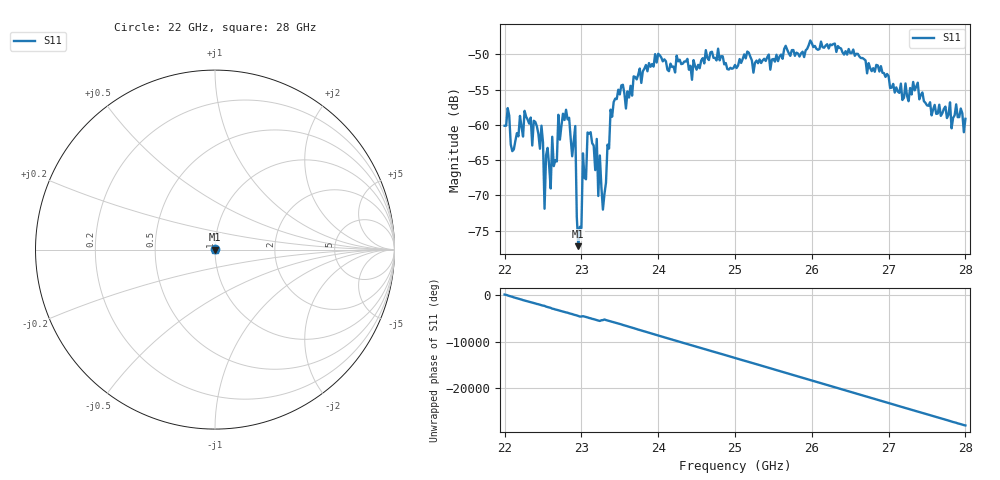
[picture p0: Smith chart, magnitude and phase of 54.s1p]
#  HZ  S  RI  R  50.00
! Rohde & Schwarz ZVA40 4Ports - Version 3.90 - 1145.1110k42 SN: 100403
! Date: 2023-10-04 07:40:08
! Measurement: S12
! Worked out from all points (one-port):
!   301 points, 22 GHz to 28 GHz, reference 50 ohm
!   lowest |S11| = -77.2 dB at 22.96 GHz (marker M1), VSWR 1.00, Z = 50 + j0.000373 ohm
!   |S11| at or under -10 dB: start of sweep to end of sweep
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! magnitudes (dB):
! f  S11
! 22 GHz  -60.1
! 22.48 GHz  -60.1
! 22.52 GHz  -71.9
! 22.54 GHz  -64.3
! 22.6 GHz  -69.0
! 22.62 GHz  -61.7
! 22.68 GHz  -65.2
! 22.7 GHz  -58.6
! 22.76 GHz  -58.4
! 22.88 GHz  -64.5
! 22.92 GHz  -60.2
! 22.96 GHz  -77.2
! 23 GHz  -74.6
! 23.02 GHz  -64.0
! 23.06 GHz  -67.7
! 23.08 GHz  -61.1
! 23.2 GHz  -62.0
! 23.22 GHz  -70.1
! 23.24 GHz  -64.3
! 23.28 GHz  -72.0
! 23.38 GHz  -57.9
! 23.5 GHz  -55.7
! 24.26 GHz  -51.0
! 25 GHz  -51.5
! 25.76 GHz  -49.4
! 26.5 GHz  -49.8
! 27.26 GHz  -56.7
! 28 GHz  -59.2
